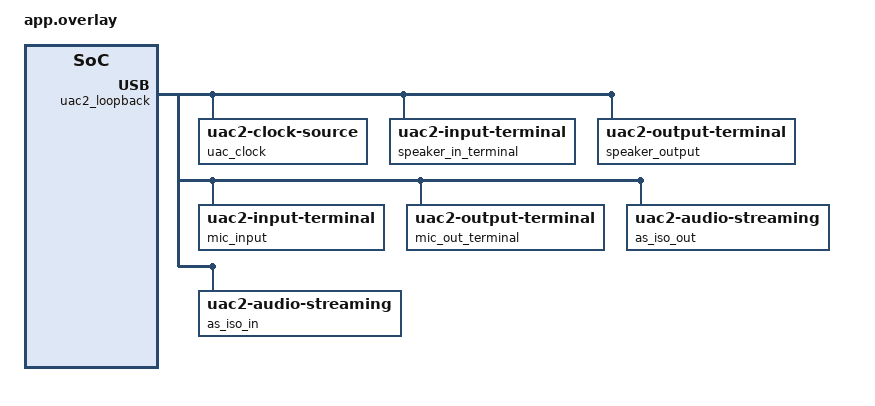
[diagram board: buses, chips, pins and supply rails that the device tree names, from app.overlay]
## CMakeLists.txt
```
# SPDX-License-Identifier: Apache-2.0

cmake_minimum_required(VERSION 3.20.0)
find_package(Zephyr REQUIRED HINTS $ENV{ZEPHYR_BASE})
project(zephyr_uac2_loopback)

target_sources(app PRIVATE
	src/main.c
	src/sample_usbd_init.c
)
target_include_directories(app PRIVATE src)
```

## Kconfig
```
# SPDX-License-Identifier: Apache-2.0
#
# Vendored copy of the sample USB device options (see src/sample_usbd_init.c)
# since this is a standalone app, not built inside vendor/zephyrproject/zephyr.

config SAMPLE_USBD_MANUFACTURER
	string "USB device manufacturer string"
	default "Zephyr Project"

config SAMPLE_USBD_PRODUCT
	string "USB device product string"
	default "USBD sample"

config SAMPLE_USBD_PID
	hex "USB device Product ID"
	default 0x0001

config SAMPLE_USBD_SELF_POWERED
	bool "USB device Self-powered attribute"
	default y

config SAMPLE_USBD_REMOTE_WAKEUP
	bool "USB device Remote Wakeup attribute"

config SAMPLE_USBD_MAX_POWER
	int "USB device bMaxPower value"
	default 125
	range 0 250

config SAMPLE_USBD_20_EXTENSION_DESC
	bool "Use default USB 2.0 Extension Descriptor"
	depends on USBD_BOS_SUPPORT

source "Kconfig.zephyr"
```

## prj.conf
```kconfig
# USB Audio Class 2 loopback demo.
#
# Modern experimental USB device stack + UDC DWC2 driver, needed because the
# legacy USB_DEVICE_STACK's usb_dc_stm32.c never recovers from DWC2's
# "incomplete isochronous OUT" condition on this board (docs/usb_debug.md,
# Step 44).
CONFIG_USB_DEVICE_STACK_NEXT=y
CONFIG_USBD_AUDIO2_CLASS=y

# UAC2 relies on SOF-driven scheduling (usbd_uac2.c's uac2_sof() re-arms every
# isochronous OUT read once per SOF); without this the OUT endpoint is only
# ever armed once at interface-enable time and receives exactly one packet.
CONFIG_UDC_ENABLE_SOF=y

CONFIG_SAMPLE_USBD_MANUFACTURER="Zephyr STM32H7 Playground"
CONFIG_SAMPLE_USBD_PRODUCT="UAC2 Loopback"
CONFIG_SAMPLE_USBD_PID=0x0101
CONFIG_SAMPLE_USBD_SELF_POWERED=y

CONFIG_HWINFO=y

CONFIG_LOG=y
CONFIG_LOG_DEFAULT_LEVEL=3
CONFIG_LOG_BUFFER_SIZE=8192
CONFIG_USBD_LOG_LEVEL_DBG=y

CONFIG_MAIN_STACK_SIZE=2048
```

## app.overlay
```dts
/*
 * USB Audio Class 2 loopback topology: a single synchronous, fixed-rate
 * 24 kHz mono clock feeding one input (host->device, "speaker") and one
 * output (device->host, "microphone") terminal. main.c immediately bounces
 * every buffer received on the speaker terminal back out on the microphone
 * terminal, so whatever the host plays is what the host hears back.
 *
 * Modeled on samples/subsys/usb/audio/headset (legacy stack topology) but
 * using the modern zephyr,uac2 devicetree/class API paired with udc_dwc2,
 * since the legacy usb_dc_stm32.c driver never recovers from DWC2's
 * "incomplete isochronous OUT" condition (see docs/usb_debug.md Step 44).
 *
 * Mono/24kHz was chosen (instead of the more obvious stereo/48kHz) because
 * this board's udc_stm32.c driver hardcodes every non-EP0 OUT endpoint's
 * capability to a fixed 64-byte max packet size (see EP_MPS in
 * drivers/usb/udc/udc_stm32.c), regardless of endpoint type. A stereo
 * 48 kHz OUT stream needs 192 bytes/ms and never fits; mono 24 kHz needs
 * only 48 bytes/ms and assigns cleanly. The mic (IN) direction has no such
 * cap, but is kept symmetric here for simplicity.
 */

#include <dt-bindings/usb/audio.h>

&zephyr_udc0 {
	uac2_loopback: usb_audio2 {
		compatible = "zephyr,uac2";
		status = "okay";
		full-speed;
		audio-function = <AUDIO_FUNCTION_HEADSET>;

		uac_clock: clock {
			compatible = "zephyr,uac2-clock-source";
			clock-type = "internal-fixed";
			sof-synchronized;
			sampling-frequencies = <24000>;
		};

		speaker_in_terminal: speaker_in_terminal {
			compatible = "zephyr,uac2-input-terminal";
			clock-source = <&uac_clock>;
			terminal-type = <USB_TERMINAL_STREAMING>;
			front-left;
		};

		speaker_output: speaker {
			compatible = "zephyr,uac2-output-terminal";
			data-source = <&speaker_in_terminal>;
			clock-source = <&uac_clock>;
			terminal-type = <BIDIRECTIONAL_TERMINAL_HEADSET>;
			assoc-terminal = <&mic_input>;
		};

		mic_input: microphone {
			compatible = "zephyr,uac2-input-terminal";
			clock-source = <&uac_clock>;
			terminal-type = <BIDIRECTIONAL_TERMINAL_HEADSET>;
			front-left;
		};

		mic_out_terminal: mic_out_terminal {
			compatible = "zephyr,uac2-output-terminal";
			data-source = <&mic_input>;
			clock-source = <&uac_clock>;
			terminal-type = <USB_TERMINAL_STREAMING>;
		};

		as_iso_out: speaker_interface {
			compatible = "zephyr,uac2-audio-streaming";
			linked-terminal = <&speaker_in_terminal>;
			subslot-size = <2>;
			bit-resolution = <16>;
		};

		as_iso_in: mic_interface {
			compatible = "zephyr,uac2-audio-streaming";
			linked-terminal = <&mic_out_terminal>;
			subslot-size = <2>;
			bit-resolution = <16>;
		};
	};
};
```

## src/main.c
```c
/*
 * Copyright (c) 2026
 *
 * SPDX-License-Identifier: Apache-2.0
 *
 * USB Audio Class 2 loopback demo for NUCLEO-H755ZI-Q.
 *
 * Whatever PCM audio the host plays to this device's "speaker" input
 * terminal is immediately bounced back out on the "microphone" output
 * terminal, so the same audio is heard back on the host. No I2S / ADC /
 * DAC hardware is involved -- this purely proves the USB Audio Class 2
 * isochronous data path end to end (host -> device -> host).
 *
 * Built on the modern zephyr,uac2 device class + udc_dwc2 driver, unlike
 * samples/subsys/usb/audio/headset (legacy usb_dc_stm32.c), because the
 * legacy driver never implements HAL's ISOOUTIncompleteCallback recovery
 * and silently drops all isochronous OUT data on this SoC/board (see
 * docs/usb_debug.md Step 44 for the full investigation).
 */

#include <stdint.h>

#include <zephyr/device.h>
#include <zephyr/kernel.h>
#include <zephyr/usb/usbd.h>
#include <zephyr/usb/class/usbd_uac2.h>
#include <zephyr/drivers/usb/udc.h>
#include <zephyr/logging/log.h>

#include "sample_usbd.h"

LOG_MODULE_REGISTER(uac2_loopback, LOG_LEVEL_INF);

#define SPEAKER_IN_TERMINAL_ID UAC2_ENTITY_ID(DT_NODELABEL(speaker_in_terminal))
#define MIC_OUT_TERMINAL_ID    UAC2_ENTITY_ID(DT_NODELABEL(mic_out_terminal))

/* Mono, 16-bit, 24 kHz -> ~24 samples/ms + 1 slack sample */
#define BYTES_PER_SLOT   2U
#define MAX_BLOCK_SIZE   ((25U) * BYTES_PER_SLOT)

/* A handful of slab buffers: 1 in flight to USB stack for receive, 1 being
 * echoed back out, plus slack for scheduling jitter.
 */
#define LOOPBACK_BLOCKS 6
K_MEM_SLAB_DEFINE_STATIC(loopback_slab, ROUND_UP(MAX_BLOCK_SIZE, UDC_BUF_GRANULARITY),
			 LOOPBACK_BLOCKS, UDC_BUF_ALIGN);

static bool speaker_enabled;
static bool mic_enabled;
static uint32_t recv_count;
static uint32_t sent_count;
static uint32_t sent_fail_count;

static void uac2_sof_cb(const struct device *dev, void *user_data)
{
	ARG_UNUSED(dev);
	ARG_UNUSED(user_data);
	/* No I2S clock to track -- loopback is driven entirely by data_recv_cb. */
}

static void uac2_terminal_update_cb(const struct device *dev, uint8_t terminal,
				    bool enabled, bool microframes,
				    void *user_data)
{
	ARG_UNUSED(dev);
	ARG_UNUSED(user_data);

	__ASSERT_NO_MSG(microframes == false);

	if (terminal == SPEAKER_IN_TERMINAL_ID) {
		speaker_enabled = enabled;
		LOG_INF("Speaker terminal %s", enabled ? "enabled" : "disabled");
	} else if (terminal == MIC_OUT_TERMINAL_ID) {
		mic_enabled = enabled;
		LOG_INF("Microphone terminal %s", enabled ? "enabled" : "disabled");
	}
}

static void *uac2_get_recv_buf(const struct device *dev, uint8_t terminal,
			       uint16_t size, void *user_data)
{
	ARG_UNUSED(dev);
	ARG_UNUSED(user_data);
	void *buf = NULL;

	if (terminal != SPEAKER_IN_TERMINAL_ID || !speaker_enabled) {
		return NULL;
	}

	if (size > MAX_BLOCK_SIZE) {
		LOG_WRN("Requested %u bytes exceeds max block size %u", size,
			MAX_BLOCK_SIZE);
		return NULL;
	}

	if (k_mem_slab_alloc(&loopback_slab, &buf, K_NO_WAIT) != 0) {
		LOG_WRN("Loopback slab exhausted, dropping block");
		return NULL;
	}

	return buf;
}

static void uac2_data_recv_cb(const struct device *dev, uint8_t terminal,
			      void *buf, uint16_t size, void *user_data)
{
	ARG_UNUSED(user_data);

	if (terminal != SPEAKER_IN_TERMINAL_ID || !buf) {
		return;
	}

	recv_count++;
	if (recv_count == 1 || (recv_count % 200) == 0) {
		LOG_INF("recv=%u sent=%u sent_fail=%u mic_enabled=%d last_size=%u",
			recv_count, sent_count, sent_fail_count, mic_enabled, size);
	}

	if (!size || !mic_enabled) {
		k_mem_slab_free(&loopback_slab, buf);
		return;
	}

	/* Bounce the exact bytes we just received straight back out the
	 * microphone terminal -- this is the entire "loopback".
	 */
	if (usbd_uac2_send(dev, MIC_OUT_TERMINAL_ID, buf, size) < 0) {
		sent_fail_count++;
		k_mem_slab_free(&loopback_slab, buf);
	} else {
		sent_count++;
	}
}

static void uac2_buf_release_cb(const struct device *dev, uint8_t terminal,
				void *buf, void *user_data)
{
	ARG_UNUSED(dev);
	ARG_UNUSED(terminal);
	ARG_UNUSED(user_data);

	k_mem_slab_free(&loopback_slab, buf);
}

static struct uac2_ops loopback_ops = {
	.sof_cb = uac2_sof_cb,
	.terminal_update_cb = uac2_terminal_update_cb,
	.get_recv_buf = uac2_get_recv_buf,
	.data_recv_cb = uac2_data_recv_cb,
	.buf_release_cb = uac2_buf_release_cb,
};

int main(void)
{
	const struct device *uac2_dev = DEVICE_DT_GET(DT_NODELABEL(uac2_loopback));
	struct usbd_context *usbd_ctx;
	int ret;

	if (!device_is_ready(uac2_dev)) {
		LOG_ERR("UAC2 device is not ready");
		return 0;
	}

	usbd_uac2_set_ops(uac2_dev, &loopback_ops, NULL);

	usbd_ctx = sample_usbd_init_device(NULL);
	if (usbd_ctx == NULL) {
		LOG_ERR("Failed to initialize USB device stack");
		return 0;
	}

	ret = usbd_enable(usbd_ctx);
	if (ret) {
		LOG_ERR("Failed to enable USB device support: %d", ret);
		return 0;
	}

	LOG_INF("USB Audio 2 loopback ready");
	return 0;
}
```

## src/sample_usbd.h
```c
/*
 * Copyright (c) 2023 Nordic Semiconductor ASA.
 *
 * SPDX-License-Identifier: Apache-2.0
 *
 * Local copy of Zephyr's samples/subsys/usb/common/sample_usbd.h template,
 * vendored so this app does not depend on files under the Zephyr samples/
 * tree (which upstream documents as "not for use outside of samples").
 */

#ifndef ZEPHYR_UAC2_LOOPBACK_SAMPLE_USBD_H
#define ZEPHYR_UAC2_LOOPBACK_SAMPLE_USBD_H

#include <stdint.h>
#include <zephyr/usb/usbd.h>

struct usbd_context *sample_usbd_init_device(usbd_msg_cb_t msg_cb);
struct usbd_context *sample_usbd_setup_device(usbd_msg_cb_t msg_cb);

#endif /* ZEPHYR_UAC2_LOOPBACK_SAMPLE_USBD_H */
```
